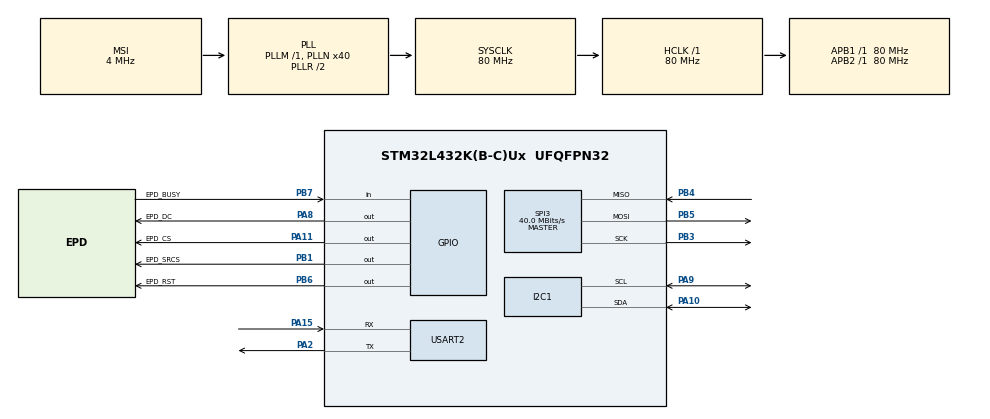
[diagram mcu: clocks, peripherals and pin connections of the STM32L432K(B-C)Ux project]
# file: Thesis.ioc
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I2C1.Timing=0x10909CEC
Mcu.Family=STM32L4
Mcu.Name=STM32L432K(B-C)Ux
Mcu.Package=UFQFPN32
NVIC.PriorityGroup=NVIC_PRIORITYGROUP_4
NVIC.RTC_WKUP_IRQn=true\:0\:0\:false\:false\:true\:true\:true
PA10.Mode=I2C
PA10.Signal=I2C1_SDA
PA11.GPIO_Label=EPD_CS
PA11.Signal=GPIO_Output
PA15\ (JTDI).Mode=Asynchronous
PA15\ (JTDI).Signal=USART2_RX
PA2.Mode=Asynchronous
PA2.Signal=USART2_TX
PA8.GPIO_Label=EPD_DC
PA8.Signal=GPIO_Output
PA9.Mode=I2C
PA9.Signal=I2C1_SCL
PB1.GPIO_Label=EPD_SRCS
PB1.Signal=GPIO_Output
PB3\ (JTDO-TRACESWO).Mode=Full_Duplex_Master
PB3\ (JTDO-TRACESWO).Signal=SPI3_SCK
PB4\ (NJTRST).Mode=Full_Duplex_Master
PB4\ (NJTRST).Signal=SPI3_MISO
PB5.Mode=Full_Duplex_Master
PB5.Signal=SPI3_MOSI
PB6.GPIO_Label=EPD_RST
PB6.Signal=GPIO_Output
PB7.GPIO_Label=EPD_BUSY
PB7.Signal=GPIO_Input
PC14-OSC32_IN\ (PC14).Mode=LSE-External-Oscillator
PC14-OSC32_IN\ (PC14).Signal=RCC_OSC32_IN
PC15-OSC32_OUT\ (PC15).Mode=LSE-External-Oscillator
PC15-OSC32_OUT\ (PC15).Signal=RCC_OSC32_OUT
ProjectManager.HeapSize=0x200
ProjectManager.StackSize=0x400
ProjectManager.TargetToolchain=Makefile
RCC.AHBFreq_Value=80000000
RCC.APB1Freq_Value=80000000
RCC.APB1TimFreq_Value=80000000
RCC.APB2Freq_Value=80000000
RCC.APB2TimFreq_Value=80000000
RCC.CortexFreq_Value=80000000
RCC.HCLKFreq_Value=80000000
RCC.HSE_VALUE=8000000
RCC.HSI16_VALUE=16000000
RCC.HSI48_VALUE=48000000
RCC.HSI_VALUE=16000000
RCC.MSI_VALUE=4000000
RCC.PLLMUL=RCC_PLLMUL_4
RCC.PLLN=40
RCC.RTCClockSelection=RCC_RTCCLKSOURCE_LSE
RCC.SYSCLKFreq_VALUE=80000000
RCC.SYSCLKSource=RCC_SYSCLKSOURCE_PLLCLK
RCC.VCOOutputFreq_Value=160000000
RTC.WakeUpClock=RTC_WAKEUPCLOCK_CK_SPRE_16BITS
RTC.WakeUpCounter=30
SPI3.CalculateBaudRate=40.0 MBits/s
SPI3.DataSize=SPI_DATASIZE_8BIT
SPI3.Direction=SPI_DIRECTION_2LINES
SPI3.Mode=SPI_MODE_MASTER
SPI3.NSSPMode=SPI_NSS_PULSE_DISABLE
SPI3.VirtualType=VM_MASTER
TIM16.Prescaler=80 - 1
USART2.VirtualMode-Asynchronous=VM_ASYNC
VP_RTC_VS_RTC_Activate.Mode=RTC_Enabled
VP_RTC_VS_RTC_WakeUp_intern.Mode=WakeUp
VP_TIM16_VS_ClockSourceINT.Mode=Enable_Timer
board=NUCLEO-L432KC

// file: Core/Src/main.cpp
/* USER CODE BEGIN Header */
/**
  ******************************************************************************
  * @file           : main.c
  * @brief          : Main program body
  ******************************************************************************
  * @attention
  *
  * <h2><center>&copy; Copyright (c) 2021 STMicroelectronics.
  * All rights reserved.</center></h2>
  *
  * This software component is licensed by ST under BSD 3-Clause license,
  * the "License"; You may not use this file except in compliance with the
  * License. You may obtain a copy of the License at:
  *                        opensource.org/licenses/BSD-3-Clause
  *
  ******************************************************************************
  */
/* USER CODE END Header */
#include "main.h"

/* USER CODE BEGIN Includes */
#include <stdio.h>
#include "sha.h"
#include "hotp.h"
#include "qr.h"
#include "adafruit_154_mono_d27.h"
/* USER CODE END Includes */

/* USER CODE BEGIN PM */
#define SIZE(x) (sizeof(x) / sizeof(x[0]))
/* USER CODE END PM */

I2C_HandleTypeDef hi2c1;

RTC_HandleTypeDef hrtc;

SPI_HandleTypeDef hspi3;

TIM_HandleTypeDef htim16;

UART_HandleTypeDef huart2;

/* USER CODE BEGIN PV */
using QR_Type = QR<3>;
constexpr ECC ecc           = ECC::M;
constexpr int pix           = 6;
constexpr int pix_side      = QR_Type::SIDE * pix;
constexpr int start_x       = 200 / 2 - pix_side / 2;
constexpr int start_y       = 200 / 2 - pix_side / 2;
constexpr const char key[]  = "12345678901234567890";
constexpr const char url[]  = "https://lift.pld.ttu.ee/t";
constexpr const char id[]   = "beef";
uint64_t counter            = 0;
char active_url[64];

QR_Type qr;
SHA<SHA_1> sha;
EPD epd {
    .cs     = { EPD_CS_GPIO_Port,   EPD_CS_Pin      },
    .dc     = { EPD_DC_GPIO_Port,   EPD_DC_Pin      },
    .srcs   = { EPD_SRCS_GPIO_Port, EPD_SRCS_Pin    },
    .sdcs   = { NULL, 0 },
    .rst    = { EPD_RST_GPIO_Port,  EPD_RST_Pin     },
    .busy   = { EPD_BUSY_GPIO_Port, EPD_BUSY_Pin    },
    .ena    = { NULL, 0 },
};
Adafruit_154_Mono_D27 display(&epd, &hspi3);

constexpr const char *months[] = {
    "Jan", "Feb", "Mar",
    "Apr", "May", "Jun",
    "Jul", "Aug", "Sep",
    "Oct", "Nov", "Dec",
};

constexpr uint8_t get_month(const char *str)
{
    for (int i = 0; i < SIZE(months); ++i) {
        if (!strcmp(str, months[i]))
            return i + 1;
    }
    return 0;
}
/* USER CODE END PV */

void SystemClock_Config(void);
static void MX_GPIO_Init(void);
static void MX_TIM16_Init(void);
static void MX_I2C1_Init(void);
static void MX_USART2_UART_Init(void);
static void MX_SPI3_Init(void);
static void MX_RTC_Init(void);

/* USER CODE BEGIN 0 */
#define PUTCHAR_PROTOTYPE int fputc(int ch, FILE *f)

extern "C" PUTCHAR_PROTOTYPE
{
    HAL_UART_Transmit(&huart2, (uint8_t*) &ch, 1, 0xFFFF);
    return ch;
}

extern "C" int _write(int file, char *ptr, int len)
{
    for (int idx = 0; idx < len; idx++)
        fputc(*ptr++, (FILE*) file);
    return len;
}

// Splits string by given delimiter and saves pointers to "ptr_arr". Modifies string.
size_t split(char *str, char *ptr_arr[], const char *delim, size_t max_n_lines)
{
    char *split = strtok(str, delim);
    size_t i = 0;

    while (split && i < max_n_lines) {
        ptr_arr[i++] = split;
        split = strtok(NULL, delim);
    }
    ptr_arr[i] = 0;

    return i;
}

/* USER CODE END 0 */

int main(void)
{

    /* MCU Configuration--------------------------------------------------------*/

    /* Reset of all peripherals, Initializes the Flash interface and the Systick. */
    HAL_Init();

    /* Configure the system clock */
    SystemClock_Config();

    /* Initialize all configured peripherals */
    MX_GPIO_Init();
    MX_TIM16_Init();
    MX_I2C1_Init();
    MX_USART2_UART_Init();
    MX_SPI3_Init();
    MX_RTC_Init();
    /* USER CODE BEGIN 2 */

    RTC_DateTypeDef date_struct;
    RTC_TimeTypeDef time_struct;

    char *args[4];
    char time[] = __TIME__;
    char date[] = __DATE__;

    split(time, args, ":", SIZE(args));
    time_struct.Hours = strtol(args[0], NULL, 10);
    time_struct.Minutes = strtol(args[1], NULL, 10);
    time_struct.Seconds = strtol(args[2], NULL, 10);

    split(date, args, " ", SIZE(args));
    date_struct.WeekDay = 1;
    date_struct.Month = get_month(args[0]);
    date_struct.Date = strtol(args[1], NULL, 10);
    date_struct.Year = strtol(args[2], NULL, 10) - 2000;

    HAL_RTC_SetTime(&hrtc, &time_struct, RTC_FORMAT_BIN);
    HAL_RTC_SetDate(&hrtc, &date_struct, RTC_FORMAT_BIN);

    display.begin();
    display.clear_buffer();
    display.display();

    /* USER CODE END 2 */

    /* Infinite loop */
    while (1) {
        HAL_RTC_GetTime(&hrtc, &time_struct, RTC_FORMAT_BIN);
        HAL_RTC_GetDate(&hrtc, &date_struct, RTC_FORMAT_BIN);

        uint32_t code = hotp(sha, (uint8_t*) key, strlen(key), counter++);

        snprintf(active_url, SIZE(active_url), "%s/%s/%08x", url, id, code);

        printf("[%02d/%02d/20%02d %02d:%02d:%02d][%04llu][0x%08x] -> %s\n",
            date_struct.Date, date_struct.Month, date_struct.Year,
            time_struct.Hours, time_struct.Minutes, time_struct.Seconds,
            counter, code, active_url);

        qr.encode(active_url, strlen(active_url), ecc, -1);

        display.clear_buffer();
        for (int y = 0; y < QR_Type::SIDE; ++y) {
            for (int x = 0; x < QR_Type::SIDE; ++x) {
                display.fill_rect(
                    start_x + x * pix,
                    start_y + y * pix,
                    pix, pix,
                    qr.module(x, y));
            }
        }
        display.display();

        printf("GOING TO STOP MODE\n");

        HAL_SuspendTick();
        HAL_PWR_EnterSTOPMode(PWR_LOWPOWERREGULATOR_ON, PWR_STOPENTRY_WFI);

        SystemClock_Config();
        HAL_ResumeTick();

        printf("RESUMING WORK\n");
    }
}

void SystemClock_Config(void)
{
  RCC_OscInitTypeDef RCC_OscInitStruct = {0};
  RCC_ClkInitTypeDef RCC_ClkInitStruct = {0};
  RCC_PeriphCLKInitTypeDef PeriphClkInit = {0};

  /** Configure LSE Drive Capability
  */
  HAL_PWR_EnableBkUpAccess();
  __HAL_RCC_LSEDRIVE_CONFIG(RCC_LSEDRIVE_LOW);
  /** Initializes the RCC Oscillators according to the specified parameters
  * in the RCC_OscInitTypeDef structure.
  */
  RCC_OscInitStruct.OscillatorType = RCC_OSCILLATORTYPE_LSE|RCC_OSCILLATORTYPE_MSI;
  RCC_OscInitStruct.LSEState = RCC_LSE_ON;
  RCC_OscInitStruct.MSIState = RCC_MSI_ON;
  RCC_OscInitStruct.MSICalibrationValue = 0;
  RCC_OscInitStruct.MSIClockRange = RCC_MSIRANGE_6;
  RCC_OscInitStruct.PLL.PLLState = RCC_PLL_ON;
  RCC_OscInitStruct.PLL.PLLSource = RCC_PLLSOURCE_MSI;
  RCC_OscInitStruct.PLL.PLLM = 1;
  RCC_OscInitStruct.PLL.PLLN = 40;
  RCC_OscInitStruct.PLL.PLLP = RCC_PLLP_DIV7;
  RCC_OscInitStruct.PLL.PLLQ = RCC_PLLQ_DIV2;
  RCC_OscInitStruct.PLL.PLLR = RCC_PLLR_DIV2;
  if (HAL_RCC_OscConfig(&RCC_OscInitStruct) != HAL_OK)
  {
    Error_Handler();
  }
  /** Initializes the CPU, AHB and APB buses clocks
  */
  RCC_ClkInitStruct.ClockType = RCC_CLOCKTYPE_HCLK|RCC_CLOCKTYPE_SYSCLK
                              |RCC_CLOCKTYPE_PCLK1|RCC_CLOCKTYPE_PCLK2;
  RCC_ClkInitStruct.SYSCLKSource = RCC_SYSCLKSOURCE_PLLCLK;
  RCC_ClkInitStruct.AHBCLKDivider = RCC_SYSCLK_DIV1;
  RCC_ClkInitStruct.APB1CLKDivider = RCC_HCLK_DIV1;
  RCC_ClkInitStruct.APB2CLKDivider = RCC_HCLK_DIV1;

  if (HAL_RCC_ClockConfig(&RCC_ClkInitStruct, FLASH_LATENCY_4) != HAL_OK)
  {
    Error_Handler();
  }
  PeriphClkInit.PeriphClockSelection = RCC_PERIPHCLK_RTC|RCC_PERIPHCLK_USART2
                              |RCC_PERIPHCLK_I2C1;
  PeriphClkInit.Usart2ClockSelection = RCC_USART2CLKSOURCE_PCLK1;
  PeriphClkInit.I2c1ClockSelection = RCC_I2C1CLKSOURCE_PCLK1;
  PeriphClkInit.RTCClockSelection = RCC_RTCCLKSOURCE_LSE;
  if (HAL_RCCEx_PeriphCLKConfig(&PeriphClkInit) != HAL_OK)
  {
    Error_Handler();
  }
  /** Configure the main internal regulator output voltage
  */
  if (HAL_PWREx_ControlVoltageScaling(PWR_REGULATOR_VOLTAGE_SCALE1) != HAL_OK)
  {
    Error_Handler();
  }
  /** Enable MSI Auto calibration
  */
  HAL_RCCEx_EnableMSIPLLMode();
}

static void MX_I2C1_Init(void)
{

  hi2c1.Instance = I2C1;
  hi2c1.Init.Timing = 0x10909CEC;
  hi2c1.Init.OwnAddress1 = 0;
  hi2c1.Init.AddressingMode = I2C_ADDRESSINGMODE_7BIT;
  hi2c1.Init.DualAddressMode = I2C_DUALADDRESS_DISABLE;
  hi2c1.Init.OwnAddress2 = 0;
  hi2c1.Init.OwnAddress2Masks = I2C_OA2_NOMASK;
  hi2c1.Init.GeneralCallMode = I2C_GENERALCALL_DISABLE;
  hi2c1.Init.NoStretchMode = I2C_NOSTRETCH_DISABLE;
  if (HAL_I2C_Init(&hi2c1) != HAL_OK)
  {
    Error_Handler();
  }
  /** Configure Analogue filter
  */
  if (HAL_I2CEx_ConfigAnalogFilter(&hi2c1, I2C_ANALOGFILTER_ENABLE) != HAL_OK)
  {
    Error_Handler();
  }
  /** Configure Digital filter
  */
  if (HAL_I2CEx_ConfigDigitalFilter(&hi2c1, 0) != HAL_OK)
  {
    Error_Handler();
  }

}

static void MX_RTC_Init(void)
{

  /** Initialize RTC Only
  */
  hrtc.Instance = RTC;
  hrtc.Init.HourFormat = RTC_HOURFORMAT_24;
  hrtc.Init.AsynchPrediv = 127;
  hrtc.Init.SynchPrediv = 255;
  hrtc.Init.OutPut = RTC_OUTPUT_DISABLE;
  hrtc.Init.OutPutRemap = RTC_OUTPUT_REMAP_NONE;
  hrtc.Init.OutPutPolarity = RTC_OUTPUT_POLARITY_HIGH;
  hrtc.Init.OutPutType = RTC_OUTPUT_TYPE_OPENDRAIN;
  if (HAL_RTC_Init(&hrtc) != HAL_OK)
  {
    Error_Handler();
  }
  /** Enable the WakeUp
  */
  if (HAL_RTCEx_SetWakeUpTimer_IT(&hrtc, 30, RTC_WAKEUPCLOCK_CK_SPRE_16BITS) != HAL_OK)
  {
    Error_Handler();
  }

}

static void MX_SPI3_Init(void)
{

  /* SPI3 parameter configuration*/
  hspi3.Instance = SPI3;
  hspi3.Init.Mode = SPI_MODE_MASTER;
  hspi3.Init.Direction = SPI_DIRECTION_2LINES;
  hspi3.Init.DataSize = SPI_DATASIZE_8BIT;
  hspi3.Init.CLKPolarity = SPI_POLARITY_LOW;
  hspi3.Init.CLKPhase = SPI_PHASE_1EDGE;
  hspi3.Init.NSS = SPI_NSS_SOFT;
  hspi3.Init.BaudRatePrescaler = SPI_BAUDRATEPRESCALER_32;
  hspi3.Init.FirstBit = SPI_FIRSTBIT_MSB;
  hspi3.Init.TIMode = SPI_TIMODE_DISABLE;
  hspi3.Init.CRCCalculation = SPI_CRCCALCULATION_DISABLE;
  hspi3.Init.CRCPolynomial = 7;
  hspi3.Init.CRCLength = SPI_CRC_LENGTH_DATASIZE;
  hspi3.Init.NSSPMode = SPI_NSS_PULSE_DISABLE;
  if (HAL_SPI_Init(&hspi3) != HAL_OK)
  {
    Error_Handler();
  }

}

static void MX_TIM16_Init(void)
{

  htim16.Instance = TIM16;
  htim16.Init.Prescaler = 80 - 1;
  htim16.Init.CounterMode = TIM_COUNTERMODE_UP;
  htim16.Init.Period = 65535;
  htim16.Init.ClockDivision = TIM_CLOCKDIVISION_DIV1;
  htim16.Init.RepetitionCounter = 0;
  htim16.Init.AutoReloadPreload = TIM_AUTORELOAD_PRELOAD_DISABLE;
  if (HAL_TIM_Base_Init(&htim16) != HAL_OK)
  {
    Error_Handler();
  }

}

static void MX_USART2_UART_Init(void)
{

  huart2.Instance = USART2;
  huart2.Init.BaudRate = 115200;
  huart2.Init.WordLength = UART_WORDLENGTH_8B;
  huart2.Init.StopBits = UART_STOPBITS_1;
  huart2.Init.Parity = UART_PARITY_NONE;
  huart2.Init.Mode = UART_MODE_TX_RX;
  huart2.Init.HwFlowCtl = UART_HWCONTROL_NONE;
  huart2.Init.OverSampling = UART_OVERSAMPLING_16;
  huart2.Init.OneBitSampling = UART_ONE_BIT_SAMPLE_DISABLE;
  huart2.AdvancedInit.AdvFeatureInit = UART_ADVFEATURE_NO_INIT;
  if (HAL_UART_Init(&huart2) != HAL_OK)
  {
    Error_Handler();
  }

}

static void MX_GPIO_Init(void)
{
  GPIO_InitTypeDef GPIO_InitStruct = {0};

  /* GPIO Ports Clock Enable */
  __HAL_RCC_GPIOC_CLK_ENABLE();
  __HAL_RCC_GPIOA_CLK_ENABLE();
  __HAL_RCC_GPIOB_CLK_ENABLE();

  /*Configure GPIO pin Output Level */
  HAL_GPIO_WritePin(GPIOB, EPD_SRCS_Pin|EPD_RST_Pin, GPIO_PIN_RESET);

  /*Configure GPIO pin Output Level */
  HAL_GPIO_WritePin(GPIOA, EPD_DC_Pin|EPD_CS_Pin, GPIO_PIN_RESET);

  /*Configure GPIO pins : EPD_SRCS_Pin EPD_RST_Pin */
  GPIO_InitStruct.Pin = EPD_SRCS_Pin|EPD_RST_Pin;
  GPIO_InitStruct.Mode = GPIO_MODE_OUTPUT_PP;
  GPIO_InitStruct.Pull = GPIO_NOPULL;
  GPIO_InitStruct.Speed = GPIO_SPEED_FREQ_LOW;
  HAL_GPIO_Init(GPIOB, &GPIO_InitStruct);

  /*Configure GPIO pins : EPD_DC_Pin EPD_CS_Pin */
  GPIO_InitStruct.Pin = EPD_DC_Pin|EPD_CS_Pin;
  GPIO_InitStruct.Mode = GPIO_MODE_OUTPUT_PP;
  GPIO_InitStruct.Pull = GPIO_NOPULL;
  GPIO_InitStruct.Speed = GPIO_SPEED_FREQ_LOW;
  HAL_GPIO_Init(GPIOA, &GPIO_InitStruct);

  /*Configure GPIO pin : EPD_BUSY_Pin */
  GPIO_InitStruct.Pin = EPD_BUSY_Pin;
  GPIO_InitStruct.Mode = GPIO_MODE_INPUT;
  GPIO_InitStruct.Pull = GPIO_NOPULL;
  HAL_GPIO_Init(EPD_BUSY_GPIO_Port, &GPIO_InitStruct);

}

void Error_Handler(void)
{
  __disable_irq();
  while (1)
  {
  }
}

/************************ (C) COPYRIGHT STMicroelectronics *****END OF FILE****/
